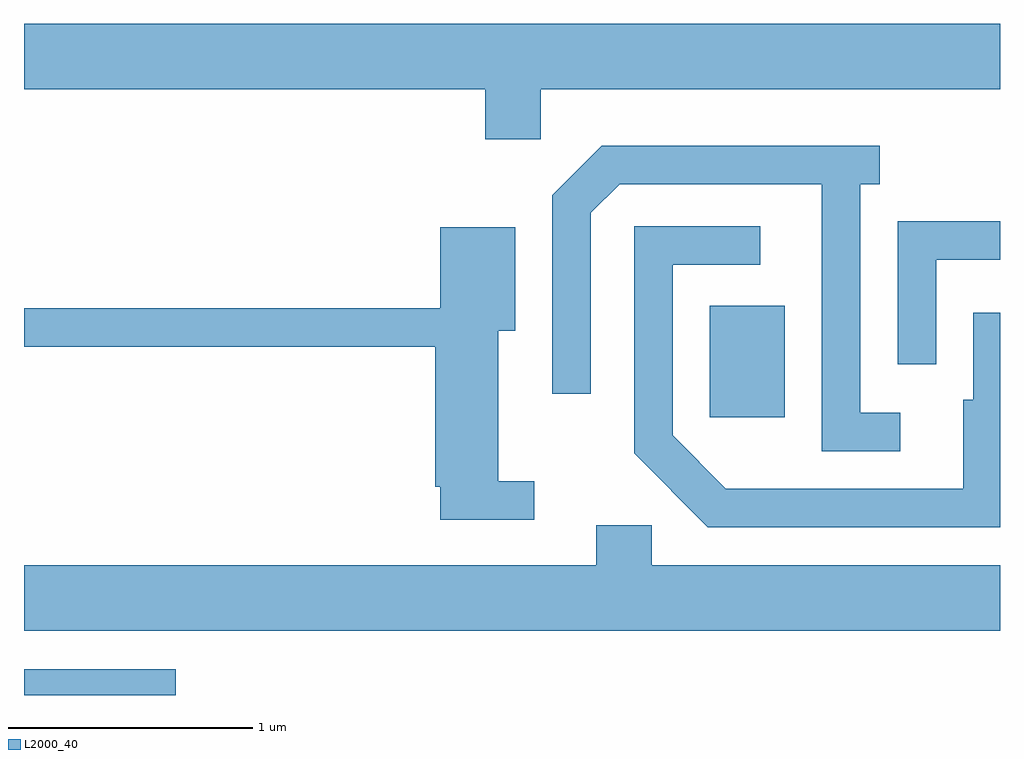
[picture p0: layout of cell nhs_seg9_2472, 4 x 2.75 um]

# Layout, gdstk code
import gdstk
lib = gdstk.Library(unit=1e-6, precision=1e-09)
def R(c, l, rs):  # rectangles x0, y0, x1, y1
    for r in rs: c.add(gdstk.rectangle(r[:2], r[2:], *l))
def P(c, l, *ps):  # polygons
    for p in ps: c.add(gdstk.Polygon(p, *l))
L2000_40 = (2000, 40)

nhs_seg9_2472 = lib.new_cell('nhs_seg9_2472')
R(nhs_seg9_2472, L2000_40, [(257.611,2000.432,258.233,2000.539), (260.421,2001.571,260.729,2002.029)])
P(nhs_seg9_2472, L2000_40, [(259.729,2002.916),(261.611,2002.916),(261.611,2003.184),(257.611,2003.184),(257.611,2002.916),(259.501,2002.916),(259.501,2002.711),(259.729,2002.711)],
  [(261.203,2001.589),(261.039,2001.589),(261.039,2002.526),(261.118,2002.526),(261.118,2002.684),(259.979,2002.684),(259.776,2002.482),(259.776,2001.668),(259.934,2001.668),(259.934,2002.409),(260.052,2002.526),(260.881,2002.526),(260.881,2001.431),(261.203,2001.431)],
  [(261.349,2002.216),(261.611,2002.216),(261.611,2002.374),(261.191,2002.374),(261.191,2001.788),(261.349,2001.788)],
  [(261.611,2001.999),(261.501,2001.999),(261.501,2001.644),(261.461,2001.644),(261.461,2001.279),(260.486,2001.279),(260.269,2001.497),(260.269,2002.196),(260.628,2002.196),(260.628,2002.354),(260.111,2002.354),(260.111,2001.424),(260.414,2001.121),(261.611,2001.121)],
  [(259.703,2001.309),(259.554,2001.309),(259.554,2001.926),(259.624,2001.926),(259.624,2002.349),(259.316,2002.349),(259.316,2002.019),(257.611,2002.019),(257.611,2001.861),(259.296,2001.861),(259.296,2001.286),(259.316,2001.286),(259.316,2001.151),(259.703,2001.151)],
  [(261.611,2000.964),(260.184,2000.964),(260.184,2001.129),(259.956,2001.129),(259.956,2000.964),(257.611,2000.964),(257.611,2000.696),(261.611,2000.696)])

lib.write_gds('nhs_seg9_2472.gds')
